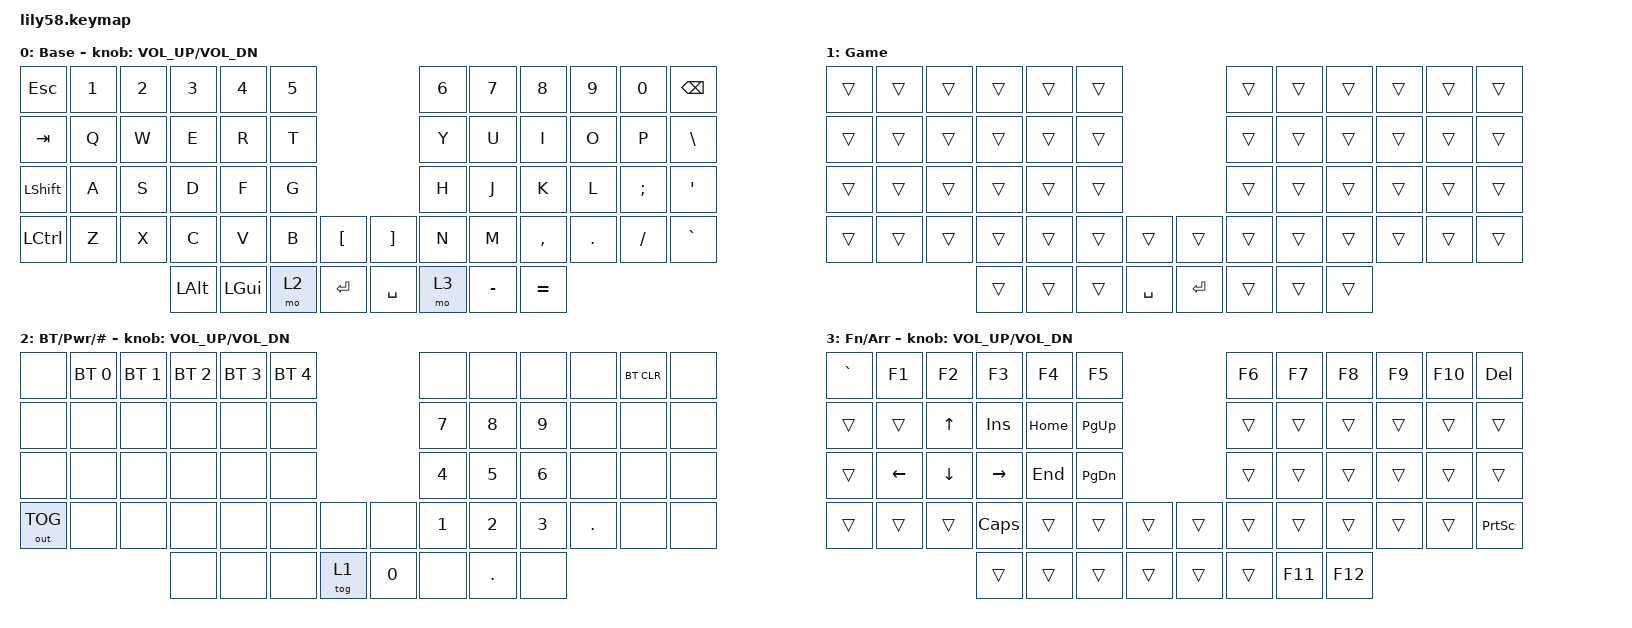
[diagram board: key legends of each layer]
/*
 * Copyright (c) 2020 The ZMK Contributors
 *
 * SPDX-License-Identifier: MIT
 */

#include <behaviors.dtsi>
#include <dt-bindings/zmk/bt.h>
#include <dt-bindings/zmk/keys.h>
#include <dt-bindings/zmk/outputs.h>

/ {
    keymap {
        compatible = "zmk,keymap";

        default_layer {
            // ------------------------------------------------------------------------------------------------------------
            // |  ESC  |  1  |  2  |  3   |  4   |  5   |                   |  6   |  7    |  8    |  9   |   0   |   `   |
            // |  TAB  |  Q  |  W  |  E   |  R   |  T   |                   |  Y   |  U    |  I    |  O   |   P   |   -   |
            // |  CTRL |  A  |  S  |  D   |  F   |  G   |                   |  H   |  J    |  K    |  L   |   ;   |   '   |
            // | SHIFT |  Z  |  X  |  C   |  V   |  B   |   "["  |  |  "]"  |  N   |  M    |  ,    |  .   |   /   | SHIFT |
            //                     | ALT  | GUI  | LOWER|  SPACE |  | ENTER | RAISE| BSPC  | GUI   |

            display-name = "Base";
            bindings = <
&kp ESC     &kp N1  &kp N2  &kp N3    &kp N4    &kp N5                         &kp N6  &kp N7     &kp N8     &kp N9   &kp N0    &kp BACKSPACE
&kp TAB     &kp Q   &kp W   &kp E     &kp R     &kp T                          &kp Y   &kp U      &kp I      &kp O    &kp P     &kp BACKSLASH
&kp LSHIFT  &kp A   &kp S   &kp D     &kp F     &kp G                          &kp H   &kp J      &kp K      &kp L    &kp SEMI  &kp SQT
&kp LCTRL   &kp Z   &kp X   &kp C     &kp V     &kp B   &kp LBKT    &kp RBKT   &kp N   &kp M      &kp COMMA  &kp DOT  &kp FSLH  &kp GRAVE
                            &kp LALT  &kp LGUI  &mo 2   &kp RET     &kp SPACE  &mo 3   &kp MINUS  &kp EQUAL
            >;

            sensor-bindings = <&inc_dec_kp C_VOL_UP C_VOL_DN>;
        };

        game {
            bindings = <
&trans  &trans  &trans  &trans  &trans  &trans                        &trans  &trans  &trans  &trans  &trans  &trans
&trans  &trans  &trans  &trans  &trans  &trans                        &trans  &trans  &trans  &trans  &trans  &trans
&trans  &trans  &trans  &trans  &trans  &trans                        &trans  &trans  &trans  &trans  &trans  &trans
&trans  &trans  &trans  &trans  &trans  &trans  &trans       &trans   &trans  &trans  &trans  &trans  &trans  &trans
                        &trans  &trans  &trans  &kp SPACE    &kp RET  &trans  &trans  &trans
            >;

            label = "Game";
        };

        lower_layer {
            // ------------------------------------------------------------------------------------------------------------
            // | BTCLR | BT1 | BT2 |  BT3 |  BT4 |  BT5 |                   |      |       |       |      |       |       |
            // |  F1   |  F2 |  F3 |  F4  |  F5  |  F6  |                   |  F7  |  F8   |  F9   |  F10 |  F11  |  F12  |
            // |   `   |  !  |  @  |  #   |  $   |  %   |                   |  ^   |  &    |  *    |  (   |   )   |   ~   |
            // |       |     |     |      |      |      |        |  |       |      |  _    |  +    |  {   |   }   |  "|"  |
            //                     |      |      |      |        |  |       |      |       |       |

            display-name = "BT/Pwr/#";
            bindings = <
&none         &bt BT_SEL 0  &bt BT_SEL 1  &bt BT_SEL 2  &bt BT_SEL 3  &bt BT_SEL 4                    &none   &none    &none   &none       &bt BT_CLR  &none
&none         &none         &none         &none         &none         &none                           &kp N7  &kp N8   &kp N9  &none       &none       &none
&none         &none         &none         &none         &none         &none                           &kp N4  &kp N5   &kp N6  &none       &none       &none
&out OUT_TOG  &none         &none         &none         &none         &none         &none     &none   &kp N1  &kp N2   &kp N3  &kp PERIOD  &none       &none
                                          &none         &none         &none         &tog 1    &kp N0  &none   &kp DOT  &none
            >;

            sensor-bindings = <&inc_dec_kp C_VOL_UP C_VOL_DN>;
        };

        raise_layer {
            // ------------------------------------------------------------------------------------------------------------
            // |       |     |     |      |      |      |                   |      |       |       |      |       |       |
            // |   `   |  1  |  2  |  3   |  4   |  5   |                   |  6   |   7   |   8   |  9   |   0   |       |
            // |   F1  |  F2 |  F3 |  F4  |  F5  |  F6  |                   |      |   <-  |   v   |  ^   |  ->   |       |
            // |   F7  |  F8 |  F9 |  F10 |  F11 |  F12 |        |  |       |  +   |   -   |   =   |  [   |   ]   |   \   |
            //                     |      |      |      |        |  |       |      |       |       |

            display-name = "Fn/Arr";
            bindings = <
&kp GRAVE  &kp F1    &kp F2    &kp F3     &kp F4    &kp F5                       &kp F6  &kp F7   &kp F8   &kp F9  &kp F10  &kp DEL
&trans     &trans    &kp UP    &kp INS    &kp HOME  &kp PG_UP                    &trans  &trans   &trans   &trans  &trans   &trans
&trans     &kp LEFT  &kp DOWN  &kp RIGHT  &kp END   &kp PG_DN                    &trans  &trans   &trans   &trans  &trans   &trans
&trans     &trans    &trans    &kp CAPS   &trans    &trans     &trans    &trans  &trans  &trans   &trans   &trans  &trans   &kp PRINTSCREEN
                               &trans     &trans    &trans     &trans    &trans  &trans  &kp F11  &kp F12
            >;

            sensor-bindings = <&inc_dec_kp C_VOL_UP C_VOL_DN>;
        };
    };
};
